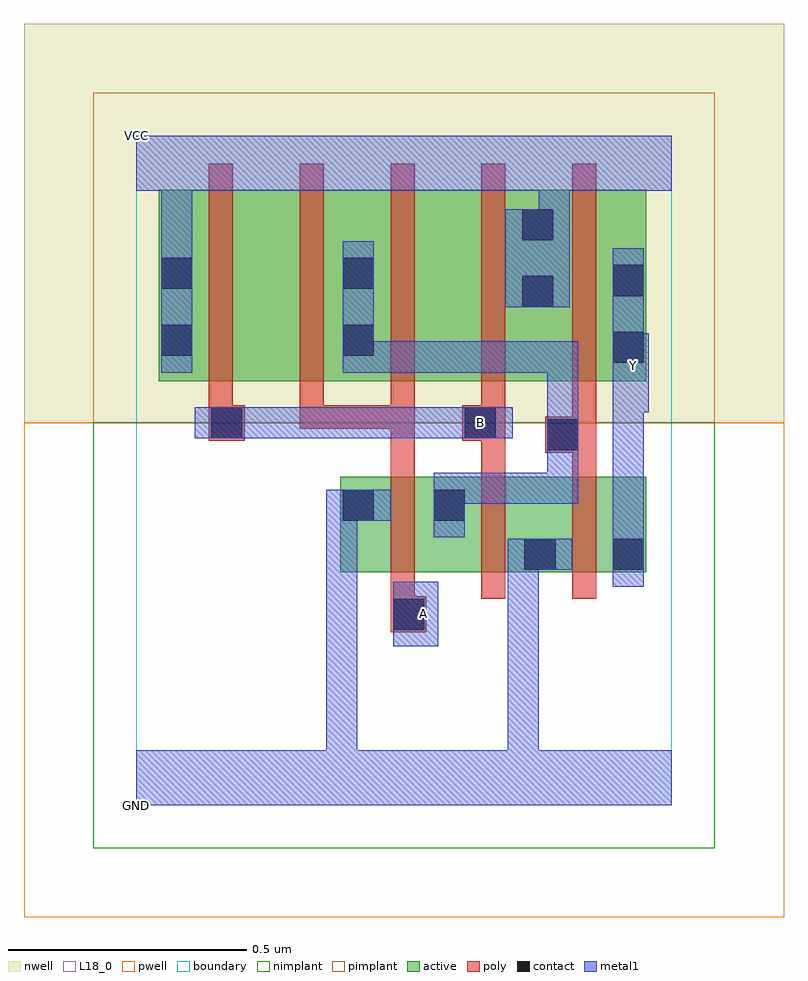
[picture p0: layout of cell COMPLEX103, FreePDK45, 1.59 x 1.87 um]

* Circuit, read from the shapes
.subckt COMPLEX103 A B GND VCC Y
M1 n1 A GND VSUBS nfet w=0.2u l=0.05u
M2 GND B n1 VSUBS nfet w=0.2u l=0.05u
M3 Y n1 GND VSUBS nfet w=0.2u l=0.05u
M4 n2 B VCC n3 pfet w=0.4u l=0.05u
M5 n1 A n2 n3 pfet w=0.4u l=0.05u
M6 n4 A n1 n3 pfet w=0.4u l=0.05u
M7 VCC B n4 n3 pfet w=0.4u l=0.05u
M8 Y n1 VCC n3 pfet w=0.4u l=0.05u
.ends

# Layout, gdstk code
import gdstk
lib = gdstk.Library(unit=1e-6, precision=1e-09)
def R(c, l, rs):  # rectangles x0, y0, x1, y1
    for r in rs: c.add(gdstk.rectangle(r[:2], r[2:], *l))
def A(c, l, x, y, w, h, nx, ny, dx, dy):  # array of equal rectangles
    R(c, l, [(x+i*dx, y+j*dy, x+i*dx+w, y+j*dy+h) for i in range(nx) for j in range(ny)])
active = (1, 0)
pwell = (2, 0)
nwell = (3, 0)
nimplant = (4, 0)
pimplant = (5, 0)
poly = (9, 0)
contact = (10, 0)
metal1 = (11, 0)
L18_0 = (18, 0)
boundary = (235, 0)

complex103 = lib.new_cell('COMPLEX103')
R(complex103, active, [(0.427,0.487,0.502,0.687), (0.427,0.487,0.692,0.687), (0.617,0.487,0.692,0.687), (0.617,0.487,0.882,0.687), (0.807,0.487,1.067,0.687), (0.807,0.487,0.882,0.562), (0.992,0.487,1.067,0.687), (0.047,0.887,0.272,1.287), (0.047,0.887,0.122,1.255), (0.272,0.887,0.502,1.287), (0.427,0.887,0.502,1.2), (0.427,0.887,0.652,1.287), (0.652,0.887,0.877,1.287), (0.802,0.887,1.067,1.287), (0.992,0.887,1.067,1.2), (0.802,0.892,0.877,1.255)])
R(complex103, pwell, [(-0.235,-0.235,1.355,0.8)])
R(complex103, nwell, [(-0.235,0.8,1.355,1.635)])
R(complex103, nimplant, [(-0.09,-0.09,1.21,0.8)])
R(complex103, pimplant, [(-0.09,0.8,1.21,1.49)])
A(complex103, poly, 0.532, 0.432, 0.05, 0.31, 3, 1, 0.19, 0)
A(complex103, poly, 0.152, 0.787, 0.05, 0.095, 4, 1, 0.19, 0)
A(complex103, poly, 0.152, 0.832, 0.05, 0.51, 5, 1, 0.19, 0)
R(complex103, poly, [(0.532,0.362,0.607,0.437), (0.532,0.387,0.582,0.482), (0.532,0.692,0.582,0.837), (0.722,0.692,0.772,0.812), (0.912,0.692,0.962,0.787), (0.855,0.737,0.962,0.812), (0.152,0.762,0.227,0.837), (0.682,0.762,0.772,0.837), (0.912,0.762,0.962,0.882), (0.342,0.787,0.582,0.837), (0.342,0.787,0.392,0.837), (0.342,0.787,0.392,0.837), (0.342,0.787,0.392,0.837), (0.532,0.787,0.582,0.837)])
R(complex103, contact, [(0.537,0.367,0.602,0.432), (0.812,0.492,0.877,0.557), (0.997,0.492,1.062,0.557), (0.432,0.595,0.497,0.66), (0.622,0.595,0.687,0.66), (0.86,0.742,0.925,0.807), (0.157,0.767,0.222,0.832), (0.687,0.767,0.752,0.832), (0.997,0.925,1.062,0.99), (0.052,0.94,0.117,1.005), (0.432,0.94,0.497,1.005), (0.807,1.042,0.872,1.107), (0.997,1.065,1.062,1.13), (0.052,1.08,0.117,1.145), (0.432,1.08,0.497,1.145), (0.807,1.182,0.872,1.247)])
R(complex103, metal1, [(0,0,1.12,0.115), (0.397,0.05,0.462,0.66), (0.777,0.05,0.842,0.115), (0.777,0.05,0.842,0.115), (0.777,0.05,0.842,0.115), (0.777,0.05,0.842,0.115), (0.777,0.05,0.842,0.115), (0.777,0.05,0.842,0.115), (0.777,0.05,0.842,0.115), (0.777,0.05,0.842,0.115), (0.777,0.05,0.842,0.557), (0.537,0.332,0.632,0.467), (0.997,0.457,1.062,0.592), (0.777,0.492,0.912,0.557), (0.997,0.527,1.062,0.887), (0.622,0.56,0.687,0.695), (0.397,0.595,0.462,0.66), (0.397,0.595,0.462,0.66), (0.397,0.595,0.462,0.66), (0.397,0.595,0.462,0.66), (0.397,0.595,0.462,0.66), (0.397,0.595,0.462,0.66), (0.397,0.595,0.462,0.66), (0.397,0.595,0.462,0.66), (0.397,0.595,0.532,0.66), (0.622,0.63,0.705,0.695), (0.64,0.63,0.705,0.695), (0.64,0.63,0.925,0.695), (0.86,0.63,0.925,0.695), (0.86,0.63,0.925,0.842), (0.86,0.707,0.925,0.842), (0.122,0.767,0.257,0.832), (0.192,0.767,0.257,0.832), (0.192,0.767,0.257,0.832), (0.192,0.767,0.395,0.832), (0.33,0.767,0.395,0.832), (0.33,0.767,0.395,0.832), (0.33,0.767,0.395,0.832), (0.33,0.767,0.532,0.832), (0.467,0.767,0.532,0.832), (0.467,0.767,0.67,0.832), (0.605,0.767,0.67,0.832), (0.605,0.767,0.717,0.832), (0.652,0.767,0.787,0.832), (0.86,0.777,0.925,0.842), (0.86,0.777,0.925,0.842), (0.86,0.777,0.925,0.97), (0.997,0.822,1.072,0.987), (0.997,0.89,1.062,0.955), (0.997,0.89,1.062,1.165), (0.052,0.905,0.117,1.18), (0.432,0.905,0.497,1.18), (0.432,0.905,0.532,0.97), (0.467,0.905,0.532,0.97), (0.467,0.905,0.7,0.97), (0.635,0.905,0.7,0.97), (0.635,0.905,0.7,0.97), (0.635,0.905,0.7,0.97), (0.635,0.905,0.925,0.97), (0.86,0.905,0.925,0.97), (0.772,1.042,0.907,1.247), (0.052,1.115,0.117,1.35), (0.842,1.182,0.907,1.35), (0,1.285,1.12,1.4)])
R(complex103, L18_0, [(0,0,1.12,0.115), (0.397,0.05,0.462,0.66), (0.777,0.05,0.842,0.115), (0.777,0.05,0.842,0.115), (0.777,0.05,0.842,0.115), (0.777,0.05,0.842,0.115), (0.777,0.05,0.842,0.115), (0.777,0.05,0.842,0.115), (0.777,0.05,0.842,0.115), (0.777,0.05,0.842,0.115), (0.777,0.05,0.842,0.557), (0.537,0.332,0.632,0.467), (0.567,0.367,0.632,0.432), (0.997,0.457,1.062,0.592), (0.777,0.492,0.912,0.557), (0.997,0.527,1.062,0.887), (0.397,0.595,0.532,0.66), (0.397,0.595,0.462,0.66), (0.397,0.595,0.462,0.66), (0.397,0.595,0.462,0.66), (0.397,0.595,0.462,0.66), (0.397,0.595,0.462,0.66), (0.397,0.595,0.462,0.66), (0.397,0.595,0.462,0.66), (0.397,0.595,0.462,0.66), (0.122,0.767,0.257,0.832), (0.192,0.767,0.257,0.832), (0.192,0.767,0.257,0.832), (0.192,0.767,0.395,0.832), (0.33,0.767,0.395,0.832), (0.33,0.767,0.395,0.832), (0.33,0.767,0.395,0.832), (0.33,0.767,0.532,0.832), (0.467,0.767,0.532,0.832), (0.467,0.767,0.67,0.832), (0.605,0.767,0.67,0.832), (0.605,0.767,0.717,0.832), (0.652,0.767,0.787,0.832), (0.687,0.767,0.752,0.832), (0.997,0.822,1.072,0.987), (1.007,0.887,1.072,0.952), (0.997,0.89,1.062,1.165), (0.997,0.89,1.062,0.955), (0.052,0.905,0.117,1.18), (0.772,1.042,0.907,1.247), (0.052,1.115,0.117,1.35), (0.842,1.182,0.907,1.35), (0,1.285,1.12,1.4)])
R(complex103, boundary, [(0,0,1.12,1.4)])
complex103.add(gdstk.Label('A', (0.6,0.4), layer=11, texttype=0))
complex103.add(gdstk.Label('B', (0.72,0.8), layer=11, texttype=0))
complex103.add(gdstk.Label('Y', (1.04,0.92), layer=11, texttype=0))
complex103.add(gdstk.Label('VCC', (0,1.4), layer=11, texttype=0))
complex103.add(gdstk.Label('GND', (0,0), layer=11, texttype=0))

lib.write_gds('COMPLEX103.gds')
